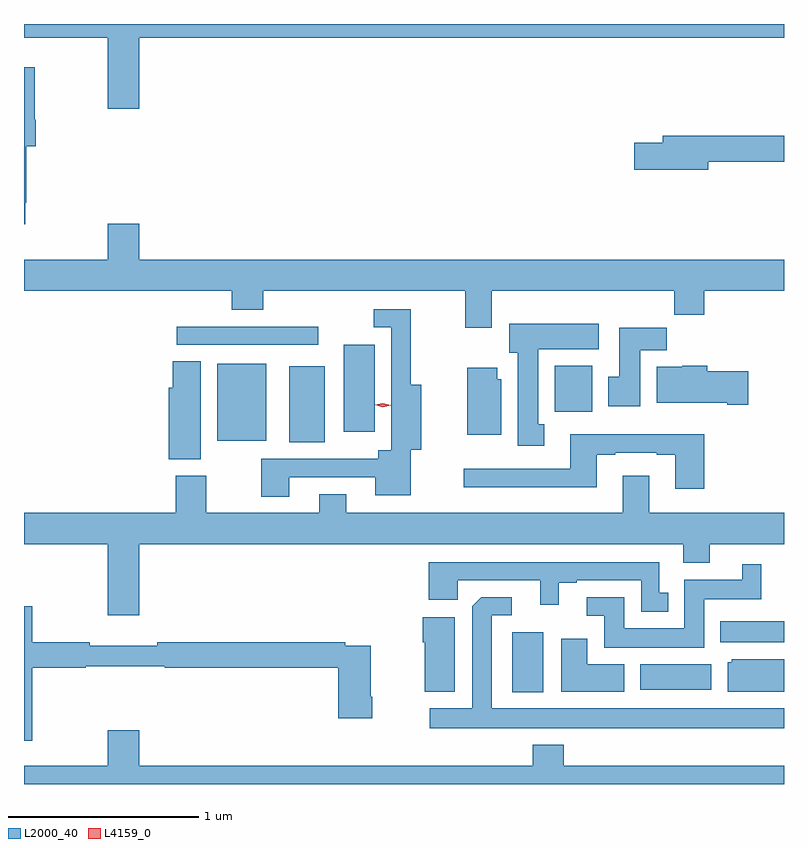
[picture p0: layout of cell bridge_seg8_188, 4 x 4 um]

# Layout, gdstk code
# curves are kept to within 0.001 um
import gdstk
lib = gdstk.Library(unit=1e-6, precision=1e-09)
def R(c, l, rs):  # rectangles x0, y0, x1, y1
    for r in rs: c.add(gdstk.rectangle(r[:2], r[2:], *l))
def P(c, l, *ps):  # polygons
    for p in ps: c.add(gdstk.Polygon(p, *l))
L2000_40 = (2000, 40)
L4159_0 = (4159, 0)

bridge_seg8_188 = lib.new_cell('bridge_seg8_188')
R(bridge_seg8_188, L2000_40, [(370.931,1089.08,371.095,1089.397), (371.606,1089.092,371.98,1089.226), (372.026,1089.344,372.362,1089.454), (369.758,1090.397,369.946,1090.795), (369.38,1090.403,369.637,1090.81), (370.046,1090.452,370.207,1090.909), (371.156,1090.556,371.353,1090.798), (369.165,1090.908,369.91,1091.004)])
P(bridge_seg8_188, L2000_40, [(368.968,1092.524),(372.362,1092.524),(372.362,1092.597),(368.362,1092.597),(368.362,1092.524),(368.804,1092.524),(368.804,1092.15),(368.968,1092.15)],
  [(368.368,1091.656),(368.375,1091.656),(368.375,1091.954),(368.423,1091.954),(368.423,1092.094),(368.418,1092.094),(368.418,1092.37),(368.362,1092.37),(368.362,1091.544),(368.368,1091.544)],
  [(371.962,1091.872),(372.362,1091.872),(372.362,1092.008),(371.723,1092.008),(371.723,1091.972),(371.574,1091.972),(371.574,1091.83),(371.962,1091.83)],
  [(370.825,1091.192),(371.785,1091.192),(371.785,1091.068),(371.942,1091.068),(371.942,1091.192),(372.362,1091.192),(372.362,1091.356),(368.968,1091.356),(368.968,1091.545),(368.804,1091.545),(368.804,1091.356),(368.362,1091.356),(368.362,1091.192),(369.455,1091.192),(369.455,1091.093),(369.62,1091.093),(369.62,1091.192),(370.685,1091.192),(370.685,1090.998),(370.825,1090.998)],
  [(369.757,1090.212),(370.211,1090.212),(370.211,1090.118),(370.397,1090.118),(370.397,1090.355),(370.453,1090.355),(370.453,1090.699),(370.397,1090.699),(370.397,1091.097),(370.203,1091.097),(370.203,1091.001),(370.296,1091.001),(370.296,1090.595),(370.295,1090.595),(370.295,1090.354),(370.226,1090.354),(370.226,1090.308),(369.61,1090.308),(369.61,1090.11),(369.757,1090.11)],
  [(371.101,1090.49),(371.068,1090.49),(371.068,1090.886),(371.386,1090.886),(371.386,1091.02),(370.916,1091.02),(370.916,1090.866),(370.961,1090.866),(370.961,1090.377),(371.101,1090.377)],
  [(371.605,1090.88),(371.744,1090.88),(371.744,1090.999),(371.495,1090.999),(371.495,1090.74),(371.438,1090.74),(371.438,1090.584),(371.605,1090.584)],
  [(369.292,1090.823),(369.146,1090.823),(369.146,1090.683),(369.125,1090.683),(369.125,1090.307),(369.292,1090.307)],
  [(372.175,1090.77),(371.957,1090.77),(371.957,1090.798),(371.826,1090.798),(371.826,1090.792),(371.693,1090.792),(371.693,1090.604),(372.062,1090.604),(372.062,1090.592),(372.175,1090.592)],
  [(370.873,1090.728),(370.852,1090.728),(370.852,1090.789),(370.694,1090.789),(370.694,1090.436),(370.873,1090.436)],
  [(371.942,1090.438),(371.237,1090.438),(371.237,1090.257),(370.677,1090.257),(370.677,1090.16),(371.377,1090.16),(371.377,1090.329),(371.473,1090.329),(371.473,1090.341),(371.693,1090.341),(371.693,1090.329),(371.789,1090.329),(371.789,1090.152),(371.942,1090.152)],
  [(371.831,1089.761),(371.971,1089.761),(371.971,1089.86),(372.362,1089.86),(372.362,1090.024),(371.653,1090.024),(371.653,1090.219),(371.513,1090.219),(371.513,1090.024),(370.057,1090.024),(370.057,1090.123),(369.917,1090.123),(369.917,1090.024),(369.321,1090.024),(369.321,1090.219),(369.161,1090.219),(369.161,1090.024),(368.362,1090.024),(368.362,1089.86),(368.804,1089.86),(368.804,1089.486),(368.968,1089.486),(368.968,1089.86),(371.831,1089.86)],
  [(371.752,1089.603),(371.706,1089.603),(371.706,1089.765),(370.493,1089.765),(370.493,1089.566),(370.644,1089.566),(370.644,1089.669),(371.078,1089.669),(371.078,1089.54),(371.176,1089.54),(371.176,1089.657),(371.272,1089.657),(371.272,1089.669),(371.61,1089.669),(371.61,1089.503),(371.752,1089.503)],
  [(371.941,1089.569),(372.242,1089.569),(372.242,1089.754),(372.143,1089.754),(372.143,1089.673),(371.837,1089.673),(371.837,1089.418),(371.521,1089.418),(371.521,1089.579),(371.325,1089.579),(371.325,1089.483),(371.417,1089.483),(371.417,1089.314),(371.941,1089.314)],
  [(372.362,1088.995),(370.825,1088.995),(370.825,1089.486),(370.93,1089.486),(370.93,1089.579),(370.768,1089.579),(370.722,1089.533),(370.721,1088.995),(370.497,1088.995),(370.497,1088.891),(372.362,1088.891)],
  [(368.405,1089.208),(368.688,1089.208),(368.688,1089.216),(369.103,1089.216),(369.103,1089.208),(370.016,1089.208),(370.016,1088.943),(370.194,1088.943),(370.194,1089.055),(370.186,1089.055),(370.186,1089.324),(370.052,1089.324),(370.052,1089.344),(369.064,1089.344),(369.064,1089.325),(368.708,1089.325),(368.708,1089.344),(368.405,1089.344),(368.405,1089.532),(368.362,1089.532),(368.362,1088.825),(368.405,1088.825)],
  [(370.63,1089.475),(370.46,1089.475),(370.46,1089.344),(370.472,1089.344),(370.472,1089.083),(370.63,1089.083)],
  [(371.521,1089.226),(371.326,1089.226),(371.326,1089.361),(371.189,1089.361),(371.189,1089.083),(371.521,1089.083)],
  [(372.362,1089.253),(372.087,1089.253),(372.087,1089.237),(372.065,1089.237),(372.065,1089.083),(372.362,1089.083)],
  [(372.362,1088.692),(371.204,1088.692),(371.204,1088.803),(371.039,1088.803),(371.039,1088.692),(368.968,1088.692),(368.968,1088.881),(368.804,1088.881),(368.804,1088.692),(368.362,1088.692),(368.362,1088.597),(372.362,1088.597)])
P(bridge_seg8_188, L4159_0, [(370.251,1090.581),(370.21,1090.592),(370.21,1090.592),(370.21,1090.592),(370.251,1090.601),(370.292,1090.591),(370.292,1090.591),(370.292,1090.591)])

lib.write_gds('bridge_seg8_188.gds')
